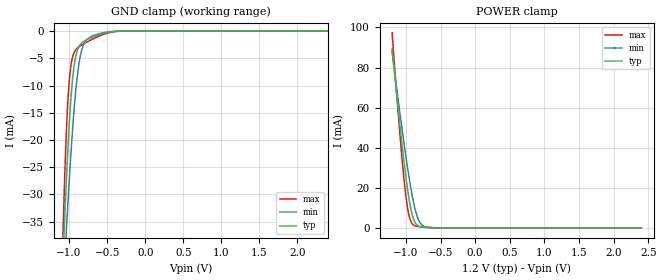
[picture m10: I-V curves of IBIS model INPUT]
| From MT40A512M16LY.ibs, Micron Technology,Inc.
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| MODEL INPUT (Add/Cmd/Ctrl Input Model, 1600-3200Mbps)
[Model]   INPUT
Model_type   Input
Vinl = 510.000mV
Vinh = 690.000mV
|   typ   min   max
|C_comp   0.306pF   0.256pF   0.356pF
C_comp_power_clamp   0.153pF   0.128pF   0.178pF
C_comp_gnd_clamp   0.153pF   0.128pF   0.178pF
[Model Spec]
| Input threshold voltage corners
Vinl   0.5100V   0.4800V   0.5400V
Vinh   0.6900V   0.6600V   0.7200V
| Dynamic Overshoot Parameters from DDR4 Specification
|D_overshoot_ampl_h   0.30   NA   NA
|D_overshoot_ampl_l   0.30   NA   NA
|D_overshoot_area_h   0.1754n   NA   NA
|D_overshoot_area_l   0.1762n   NA   NA
[Receiver Thresholds]
Vth   =  0.600V
Vth_min  =  0.5880V
Vth_max  =  0.6120V
Vinh_ac  =  0.090V
Vinh_dc  =  0.065V
Vinl_ac  = -0.090V
Vinl_dc  = -0.065V
Tslew_ac =  5.000ns |Not specified, so set to high value
Threshold_sensitivity = 0.50
Reference_supply Power_clamp_ref
[Voltage Range]   1.2000V   1.1400V   1.2600V
[POWER Clamp Reference]   1.2000V   1.1400V   1.2600V
| Junction Temperature (Ambient temp is 35C typ, 95C min, 0C max)
[Temperature Range]   50.0   110.0   0.0
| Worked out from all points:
|   GND clamp passes 1 mA (typ) near -0.67 V on its own axis
|   POWER clamp passes 1 mA (typ) near -0.81 V on its own axis
[GND Clamp]
|   Voltage   I(typ)   I(min)   I(max)
-1.2V     -89.68mA   -83.76mA   -112.5mA
-1.08V    -42.27mA   -48.6mA    -37.43mA
-1.065V   -37.02mA   -44.48mA   -30.24mA
-1.035V   -27.36mA   -36.67mA   -18.41mA
-1.015V   -21.61mA   -31.62mA   -12.71mA
-990mV    -15.4mA    -25.73mA   -8.028mA
-935mV    -6.48mA    -14.64mA   -4.005mA
-875mV    -2.985mA   -6.456mA   -2.943mA
-820mV    -2.025mA   -2.921mA   -2.441mA
-715mV    -1.243mA   -1.044mA   -1.636mA
-425mV    -95.71uA   -64.44uA   -150uA
2.4V      0A         0A         0A
[POWER Clamp]
|   Voltage   I(typ)   I(min)   I(max)
-1.2V     89.29mA    88mA       97.25mA
-1.095V   53.78mA    59.42mA    50.04mA
-1.05V    39.66mA    47.81mA    32.16mA
-1.015V   29.47mA    39.09mA    20.17mA
-985mV    21.54mA    31.96mA    11.96mA
-955mV    14.57mA    25.34mA    6.252mA
-925mV    9.043mA    19.2mA     3.084mA
-890mV    4.569mA    12.96mA    1.546mA
-850mV    1.945mA    7.193mA    981.4uA
-805mV    853.4uA    3.217mA    763.2uA
-665mV    277.9uA    269.6uA    403.6uA
2.4V      0A         0A         0A
